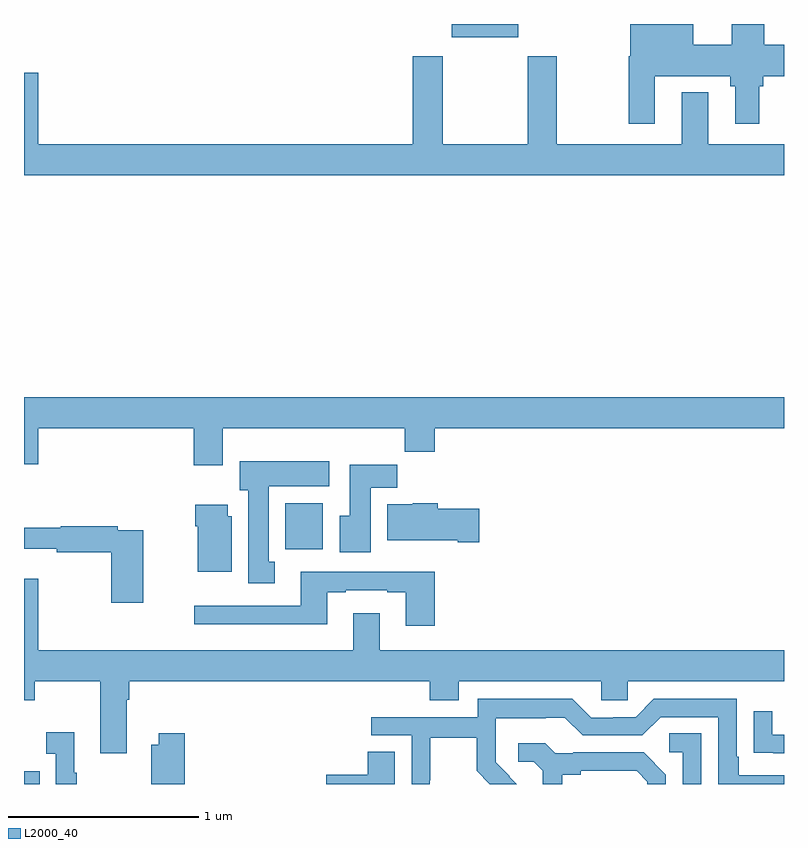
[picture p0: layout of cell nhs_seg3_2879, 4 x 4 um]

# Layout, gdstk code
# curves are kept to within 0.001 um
import gdstk
lib = gdstk.Library(unit=1e-6, precision=1e-09)
def R(c, l, rs):  # rectangles x0, y0, x1, y1
    for r in rs: c.add(gdstk.rectangle(r[:2], r[2:], *l))
def P(c, l, *ps):  # polygons
    for p in ps: c.add(gdstk.Polygon(p, *l))
L2000_40 = (2000, 40)

nhs_seg3_2879 = lib.new_cell('nhs_seg3_2879')
R(nhs_seg3_2879, L2000_40, [(261,676.4,261.083,676.467), (262.376,677.636,262.573,677.878), (263.252,680.33,263.602,680.4)])
P(nhs_seg3_2879, L2000_40, [(264.319,680.126),(264.718,680.126),(264.718,680.073),(264.743,680.073),(264.743,679.875),(264.871,679.875),(264.871,680.073),(264.891,680.073),(264.891,680.126),(265,680.126),(265,680.29),(264.896,680.29),(264.896,680.4),(264.725,680.4),(264.725,680.29),(264.523,680.29),(264.523,680.4),(264.191,680.4),(264.191,680.23),(264.184,680.23),(264.184,679.875),(264.319,679.875)],
  [(265,679.768),(264.601,679.768),(264.601,680.041),(264.461,680.041),(264.461,679.768),(263.805,679.768),(263.805,680.23),(263.65,680.23),(263.65,679.768),(263.205,679.768),(263.205,680.23),(263.045,680.23),(263.045,679.768),(261.076,679.768),(261.076,680.143),(261,680.143),(261,679.604),(265,679.604)],
  [(262.045,678.272),(263.005,678.272),(263.005,678.148),(263.162,678.148),(263.162,678.272),(265,678.272),(265,678.436),(261,678.436),(261,678.084),(261.076,678.084),(261.076,678.272),(261.893,678.272),(261.893,678.078),(262.045,678.078)],
  [(262.321,677.57),(262.288,677.57),(262.288,677.966),(262.606,677.966),(262.606,678.1),(262.136,678.1),(262.136,677.946),(262.181,677.946),(262.181,677.457),(262.321,677.457)],
  [(262.825,677.96),(262.964,677.96),(262.964,678.079),(262.715,678.079),(262.715,677.812),(262.661,677.812),(262.661,677.619),(262.825,677.619)],
  [(263.395,677.85),(263.177,677.85),(263.177,677.878),(263.046,677.878),(263.046,677.872),(262.913,677.872),(262.913,677.684),(263.282,677.684),(263.282,677.672),(263.395,677.672)],
  [(262.093,677.808),(262.072,677.808),(262.072,677.869),(261.902,677.869),(261.902,677.756),(261.914,677.756),(261.914,677.516),(262.093,677.516)],
  [(261.628,677.736),(261.494,677.736),(261.494,677.756),(261.194,677.756),(261.194,677.749),(261,677.749),(261,677.639),(261.172,677.639),(261.172,677.62),(261.458,677.62),(261.458,677.355),(261.628,677.355)],
  [(263.162,677.518),(262.921,677.518),(262.921,677.517),(262.457,677.517),(262.457,677.337),(261.897,677.337),(261.897,677.24),(262.597,677.24),(262.597,677.409),(262.693,677.409),(262.693,677.421),(262.913,677.421),(262.913,677.409),(263.009,677.409),(263.009,677.232),(263.162,677.232)],
  [(261.541,676.844),(261.554,676.844),(261.554,676.94),(263.135,676.94),(263.135,676.841),(263.287,676.841),(263.287,676.94),(264.039,676.94),(264.039,676.842),(264.177,676.842),(264.177,676.94),(265,676.94),(265,677.104),(262.873,677.104),(262.873,677.299),(262.733,677.299),(262.733,677.104),(261.076,677.104),(261.076,677.479),(261,677.479),(261,676.841),(261.057,676.841),(261.057,676.94),(261.401,676.94),(261.401,676.563),(261.541,676.563)],
  [(263.136,676.42),(263.139,676.42),(263.139,676.644),(263.383,676.644),(263.383,676.469),(263.452,676.4),(263.594,676.4),(263.482,676.514),(263.482,676.611),(263.484,676.611),(263.484,676.745),(263.747,676.745),(263.747,676.749),(263.847,676.749),(263.94,676.656),(264.255,676.656),(264.351,676.752),(264.654,676.752),(264.654,676.4),(265,676.4),(265,676.446),(264.763,676.446),(264.763,676.543),(264.75,676.543),(264.75,676.848),(264.315,676.848),(264.219,676.752),(264.101,676.752),(264.101,676.749),(263.985,676.749),(263.885,676.849),(263.388,676.849),(263.388,676.752),(262.827,676.752),(262.827,676.656),(263.04,676.656),(263.04,676.4),(263.136,676.4)],
  [(265,676.659),(264.937,676.659),(264.937,676.783),(264.841,676.783),(264.841,676.564),(264.943,676.564),(264.943,676.563),(265,676.563)],
  [(261.277,676.459),(261.265,676.459),(261.265,676.672),(261.117,676.672),(261.117,676.559),(261.168,676.559),(261.168,676.4),(261.277,676.4)],
  [(264.564,676.667),(264.396,676.667),(264.396,676.566),(264.468,676.566),(264.468,676.4),(264.564,676.4)],
  [(261.845,676.666),(261.71,676.666),(261.71,676.606),(261.67,676.606),(261.67,676.4),(261.845,676.4)],
  [(263.833,676.448),(263.929,676.448),(263.929,676.47),(264.224,676.47),(264.281,676.413),(264.281,676.4),(264.378,676.4),(264.378,676.45),(264.262,676.566),(263.89,676.566),(263.89,676.563),(263.796,676.563),(263.744,676.615),(263.601,676.615),(263.601,676.518),(263.682,676.518),(263.729,676.471),(263.729,676.4),(263.833,676.4)],
  [(262.951,676.571),(262.808,676.571),(262.808,676.448),(262.59,676.448),(262.59,676.4),(262.951,676.4)])

lib.write_gds('nhs_seg3_2879.gds')
